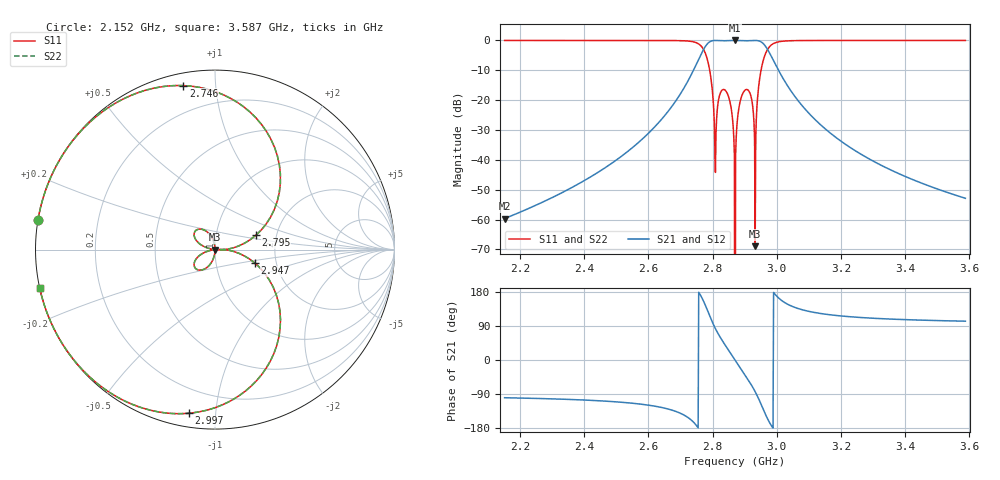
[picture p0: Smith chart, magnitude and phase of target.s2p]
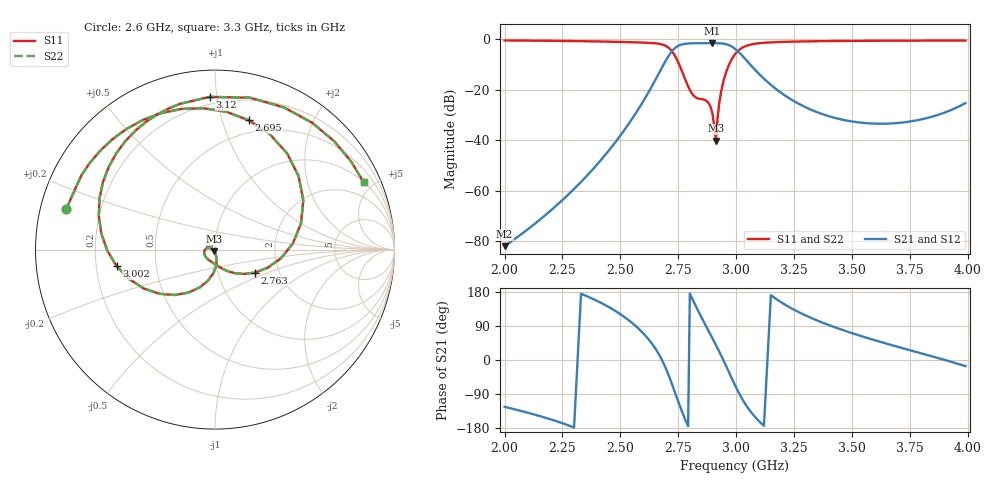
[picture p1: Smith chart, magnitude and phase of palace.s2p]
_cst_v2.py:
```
"""Parse v2_data CST result (swi_CST_data.txt, final optimized design),
overlay vs Palace + target, print band metrics, write compare_cst_v2.png."""
import numpy as np, matplotlib
matplotlib.use("Agg")
import matplotlib.pyplot as plt
import skrf as rf
from config import out_s2p

def db(x): return 20*np.log10(np.clip(np.abs(x), 1e-6, None))

# --- parse CST txt: two stacked blocks (already in dB) ---
rows = []
for line in open("v2_data/swi_CST_data.txt"):
    s = line.strip()
    if not s or s.startswith("#"):
        rows.append(None); continue
    a, b = s.split(); rows.append((float(a), float(b)))
data = [r for r in rows if r]
blk = [[]]; prev = -1
for fr, v in data:
    if fr < prev - 1e-9: blk.append([])
    blk[-1].append((fr, v)); prev = fr
cst_s11 = np.array(blk[0]); cst_s21 = np.array(blk[1])

# --- references ---
tgt = rf.Network(out_s2p("target.s2p"))
pal = rf.Network(out_s2p("palace.s2p"))

# --- CST band metrics ---
f = cst_s11[:, 0]; s11 = cst_s11[:, 1]; s21 = cst_s21[:, 1]
# -3 dB band on S21
peak = s21.max(); above = f[s21 >= peak - 3]
f_lo, f_hi = above.min(), above.max()
bw3 = (f_hi - f_lo) * 1e3; fc = 0.5 * (f_lo + f_hi)
# in-band (synthesis band 2.7975-2.9425) S11 worst + S21 min
band = (f >= 2.7975) & (f <= 2.9425)
s11_worst = s11[band].max(); s21_min = s21[band].min()
print(f"CST V2 final: center(-3dB) = {fc:.4f} GHz, BW(-3dB) = {bw3:.0f} MHz")
print(f"  in-band (2.7975-2.9425): worst S11 = {s11_worst:.2f} dB, min S21 = {s21_min:.2f} dB")
print(f"  marker peak S21 = {peak:.2f} dB")

# --- figure: CST V2 vs Palace vs target ---
fig, ax = plt.subplots(2, 1, figsize=(9, 7.5), sharex=True)
ax[0].plot(tgt.f/1e9, db(tgt.s[:, 0, 0]), ":", color="gray", lw=1.5, label="Objetivo (sintesis)")
ax[0].plot(pal.f/1e9, db(pal.s[:, 0, 0]), "-", color="#1f77b4", lw=1.6, alpha=.8, label="Palace final")
ax[0].plot(cst_s11[:, 0], cst_s11[:, 1], "-", color="#d62728", lw=2, label="CST V2 (mismas dims)")
ax[0].set_ylabel("|S11| (dB)"); ax[0].set_ylim(-40, 3); ax[0].grid(alpha=.3)
ax[0].axvline(2.87, color="k", ls=":", lw=.8); ax[0].axhline(-16, color="grey", ls="--", lw=.7, alpha=.5)
ax[0].legend(fontsize=8, loc="lower left")
ax[0].set_title("Verificacion CST V2 vs Palace (diseno optimizado: L_cav=34.4, w_ext=16, w_iris=13)")
ax[1].plot(tgt.f/1e9, db(tgt.s[:, 1, 0]), ":", color="gray", lw=1.5, label="Objetivo (sintesis)")
ax[1].plot(pal.f/1e9, db(pal.s[:, 1, 0]), "-", color="#1f77b4", lw=1.6, alpha=.8, label="Palace final")
ax[1].plot(cst_s21[:, 0], cst_s21[:, 1], "-", color="#d62728", lw=2, label="CST V2")
ax[1].set_ylabel("|S21| (dB)"); ax[1].set_xlabel("Frecuencia (GHz)")
ax[1].set_xlim(2.0, 3.6); ax[1].set_ylim(-60, 3); ax[1].grid(alpha=.3)
ax[1].axvline(2.87, color="k", ls=":", lw=.8); ax[1].legend(fontsize=8, loc="lower center")
fig.tight_layout(); fig.savefig("v2_data/compare_cst_v2.png", dpi=140)
print("WROTE v2_data/compare_cst_v2.png")
```
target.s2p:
! Created with skrf 1.12.0 (http://scikit-rf.org).
! Data is not renormalized
! S-parameter uses the power definition
# Hz S RI R
!freq ReS11 ImS11 ReS21 ImS21 ReS12 ImS12 ReS22 ImS22
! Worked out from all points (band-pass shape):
!   801 points, 2.152 GHz to 3.587 GHz, reference per port
!   highest |S21| = 0.00 dB at 2.87 GHz (marker M1); lowest = -59.7 dB at 2.152 GHz (marker M2)
!   |S21| within 3 dB of the highest: 2.772 GHz to 2.971 GHz (199.2 MHz wide, 6.94 % of centre)
!   lowest |S11| = -68.9 dB at 2.933 GHz (marker M3), VSWR 1.00
!   |S11| at or under -10 dB: 2.791 GHz to 2.951 GHz (159.8 MHz wide, 5.57 % of centre)
!   |S22| runs from - to 0.0 dB; largest |S21 - S12| = 0
!   S11 on the Smith chart (normalised r, x): 2.152 GHz: 0.00, +0.08; 2.746 GHz: 0.06, +0.82; 2.795 GHz: 1.56, +0.26; 2.947 GHz: 1.55, -0.25; 2.997 GHz: 0.07, -0.85; 3.587 GHz: 0.00, -0.11
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2.1525e9  -0.9861 0.1661  -0.000172 -0.00102  -0.000172 -0.00102  -0.9861 0.1661
! Port Impedance 50.00000000000000 0.00000000000000 50.00000000000000 0.00000000000000
2.746231e9  -0.1767 0.9137  -0.3593 -0.0695  -0.3593 -0.0695  -0.1767 0.9137
2.794662e9  0.2276 0.0797  -0.3206 0.916  -0.3206 0.916  0.2276 0.0797
2.809012e9  -0.0061 0.000776  0.1261 0.992  0.1261 0.992  -0.0061 0.000776
2.848475e9  -0.0558 0.1066  0.8797 0.46  0.8797 0.46  -0.0558 0.1066
2.87e9  0 0  1 -0  1 -0  0 0
2.900494e9  -0.0913 -0.1138  0.7717 -0.6191  0.7717 -0.6191  -0.0913 -0.1138
2.932781e9  -0.000355 -4.04e-05  0.1131 -0.9936  0.1131 -0.9936  -0.000355 -4.04e-05
2.947131e9  0.2237 -0.0763  -0.3137 -0.9196  -0.3137 -0.9196  0.2237 -0.0763
2.997356e9  -0.1462 -0.9118  -0.379 0.0608  -0.379 0.0608  -0.1462 -0.9118
3.5875e9  -0.9766 -0.2152  -0.000488 0.00221  -0.000488 0.00221  -0.9766 -0.2152
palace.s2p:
! Created with skrf 1.12.0 (http://scikit-rf.org).
# Hz S RI R 50.0
!freq ReS11 ImS11 ReS21 ImS21 ReS12 ImS12 ReS22 ImS22
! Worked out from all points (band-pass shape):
!   116 points, 2 GHz to 3.99 GHz, reference 50 ohm
!   highest |S21| = -1.52 dB at 2.897 GHz (marker M1); lowest = -81.9 dB at 2 GHz (marker M2)
!   |S21| within 3 dB of the highest: 2.725 GHz to 3.005 GHz (280 MHz wide, 9.77 % of centre)
!   lowest |S11| = -40.1 dB at 2.913 GHz (marker M3), VSWR 1.02, Z = 49.4 - j0.768 ohm
!   |S11| at or under -10 dB: 2.754 GHz to 2.97 GHz (215.5 MHz wide, 7.53 % of centre)
!   |S22| runs from -40.1 to -0.5 dB; largest |S21 - S12| = 0
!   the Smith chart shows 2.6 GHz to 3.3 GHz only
!   S11 on the Smith chart (normalised r, x): 2.6 GHz: 0.08, +0.13; 2.695 GHz: 0.38, +1.23; 2.763 GHz: 1.50, -0.41; 3.002 GHz: 0.29, -0.08; 3.12 GHz: 0.15, +0.95; 3.3 GHz: 1.02, +4.41
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2e9  0.8215 -0.4738  -4.46e-05 -6.72e-05  -4.46e-05 -6.72e-05  0.8215 -0.4738
2.6e9  -0.8296 0.2244  0.021 0.057  0.021 0.057  -0.8296 0.2244
2.695e9  0.1894 0.72  0.3483 -0.1272  0.3483 -0.1272  0.1894 0.72
2.7625e9  0.2217 -0.1283  -0.5063 -0.5966  -0.5063 -0.5966  0.2217 -0.1283
2.8975e9  -0.0327 0.00927  0.4539 0.7061  0.4539 0.7061  -0.0327 0.00927
2.9125e9  -0.00613 -0.00777  0.6468 0.5341  0.6468 0.5341  -0.00613 -0.00777
2.995e9  -0.4781 -0.1645  0.2589 -0.5939  0.2589 -0.5939  -0.4781 -0.1645
3.0025e9  -0.5473 -0.093  0.1486 -0.588  0.1486 -0.588  -0.5473 -0.093
3.12e9  -0.0291 0.8509  -0.1651 -0.0181  -0.1651 -0.0181  -0.0291 0.8509
3.3e9  0.828 0.3748  -0.0209 0.04  -0.0209 0.04  0.828 0.3748
3.99e9  -0.2423 -0.9088  0.0524 -0.0152  0.0524 -0.0152  -0.2423 -0.9088
